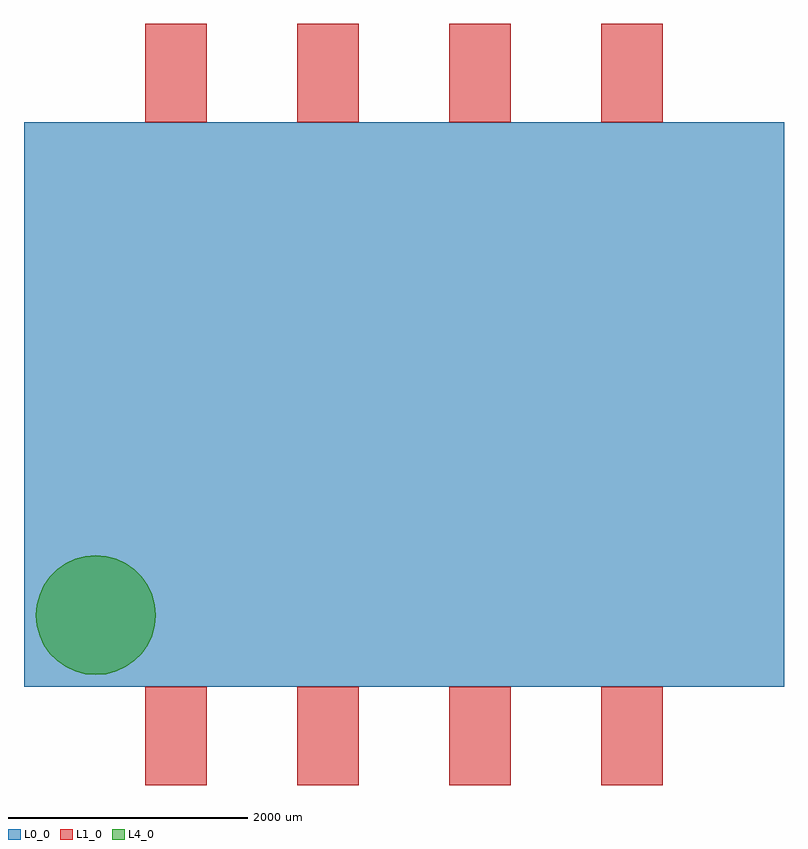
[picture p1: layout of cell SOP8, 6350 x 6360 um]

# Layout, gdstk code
import gdstk
lib = gdstk.Library(unit=1e-6, precision=1e-09)
def R(c, l, rs):  # rectangles x0, y0, x1, y1
    for r in rs: c.add(gdstk.rectangle(r[:2], r[2:], *l))
def A(c, l, x, y, w, h, nx, ny, dx, dy):  # array of equal rectangles
    R(c, l, [(x+i*dx, y+j*dy, x+i*dx+w, y+j*dy+h) for i in range(nx) for j in range(ny)])
def P(c, l, *ps):  # polygons
    for p in ps: c.add(gdstk.Polygon(p, *l))
L0_0 = (0, 0)
L1_0 = (1, 0)
L4_0 = (4, 0)
L99_1 = (99, 1)
L99_2 = (99, 2)
L99_3 = (99, 3)
L99_4 = (99, 4)
L99_5 = (99, 5)
L99_6 = (99, 6)
L99_7 = (99, 7)
L99_8 = (99, 8)

sop8 = lib.new_cell('SOP8')
R(sop8, L0_0, [(0,0,6350,4720)])
A(sop8, L1_0, 1015, -820, 510, 820, 4, 2, 1270, 5540)
P(sop8, L4_0, [(1100,600),(1092.404,513.176),(1069.846,428.99),(1033.013,350),(983.022,278.606),(921.394,216.978),(850,166.987),(771.01,130.154),(686.824,107.596),(600,100),(513.176,107.596),(428.99,130.154),(350,166.987),(278.606,216.978),(216.978,278.606),(166.987,350),(130.154,428.99),(107.596,513.176),(100,600),(107.596,686.824),(130.154,771.01),(166.987,850),(216.978,921.394),(278.606,983.022),(350,1033.013),(428.99,1069.846),(513.176,1092.404),(600,1100),(686.824,1092.404),(771.01,1069.846),(850,1033.013),(921.394,983.022),(983.022,921.394),(1033.013,850),(1069.846,771.01),(1092.404,686.824)])
sop8.add(gdstk.FlexPath([(1525,0),(1015,0)], 0, ends="round", simple_path=True, layer=99, datatype=1))  # L99_1
sop8.add(gdstk.FlexPath([(2795,0),(2285,0)], 0, ends="round", simple_path=True, layer=99, datatype=2))  # L99_2
sop8.add(gdstk.FlexPath([(4065,0),(3555,0)], 0, ends="round", simple_path=True, layer=99, datatype=3))  # L99_3
sop8.add(gdstk.FlexPath([(5335,0),(4825,0)], 0, ends="round", simple_path=True, layer=99, datatype=4))  # L99_4
sop8.add(gdstk.FlexPath([(1015,4720),(1525,4720)], 0, ends="round", simple_path=True, layer=99, datatype=8))  # L99_8
sop8.add(gdstk.FlexPath([(2285,4720),(2795,4720)], 0, ends="round", simple_path=True, layer=99, datatype=7))  # L99_7
sop8.add(gdstk.FlexPath([(3555,4720),(4065,4720)], 0, ends="round", simple_path=True, layer=99, datatype=6))  # L99_6
sop8.add(gdstk.FlexPath([(4825,4720),(5335,4720)], 0, ends="round", simple_path=True, layer=99, datatype=5))  # L99_5

lib.write_gds('SOP8.gds')
